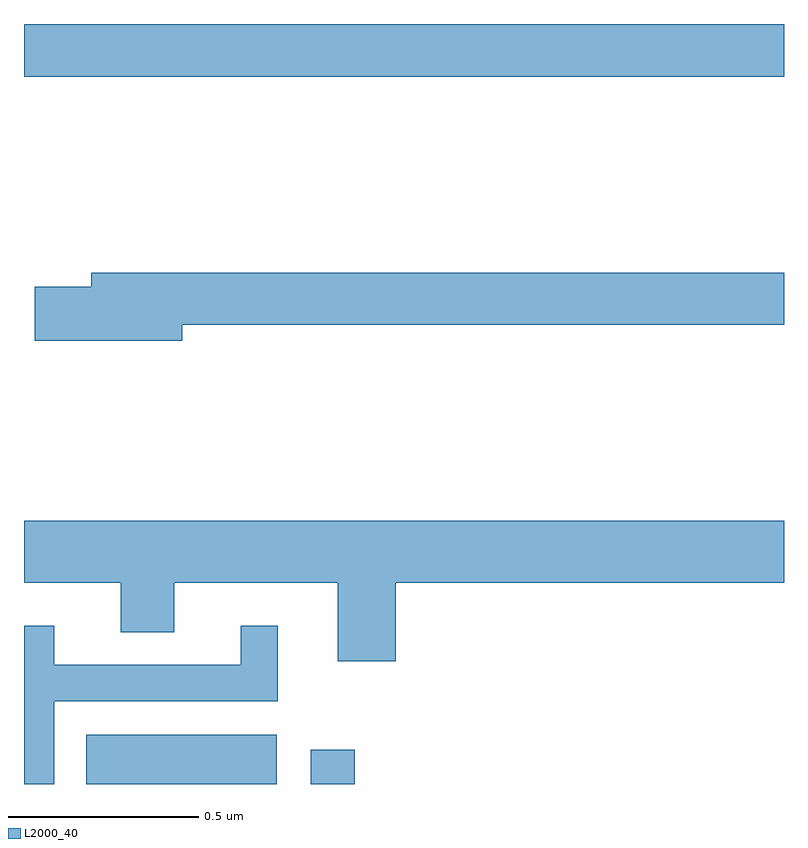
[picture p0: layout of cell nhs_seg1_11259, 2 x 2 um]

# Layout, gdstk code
import gdstk
lib = gdstk.Library(unit=1e-6, precision=1e-09)
def R(c, l, rs):  # rectangles x0, y0, x1, y1
    for r in rs: c.add(gdstk.rectangle(r[:2], r[2:], *l))
def P(c, l, *ps):  # polygons
    for p in ps: c.add(gdstk.Polygon(p, *l))
L2000_40 = (2000, 40)

nhs_seg1_11259 = lib.new_cell('nhs_seg1_11259')
R(nhs_seg1_11259, L2000_40, [(251.164,555.199,251.665,555.328), (251.754,555.199,251.87,555.289), (251,557.06,253,557.199)])
P(nhs_seg1_11259, L2000_40, [(251.416,556.408),(253,556.408),(253,556.544),(251.177,556.544),(251.177,556.508),(251.028,556.508),(251.028,556.366),(251.416,556.366)],
  [(251.978,555.728),(253,555.728),(253,555.892),(251,555.892),(251,555.728),(251.255,555.728),(251.255,555.598),(251.395,555.598),(251.395,555.728),(251.825,555.728),(251.825,555.522),(251.978,555.522)],
  [(251.079,555.417),(251.668,555.417),(251.668,555.616),(251.57,555.616),(251.57,555.513),(251.08,555.513),(251.08,555.616),(251,555.616),(251,555.199),(251.079,555.199)])

lib.write_gds('nhs_seg1_11259.gds')
